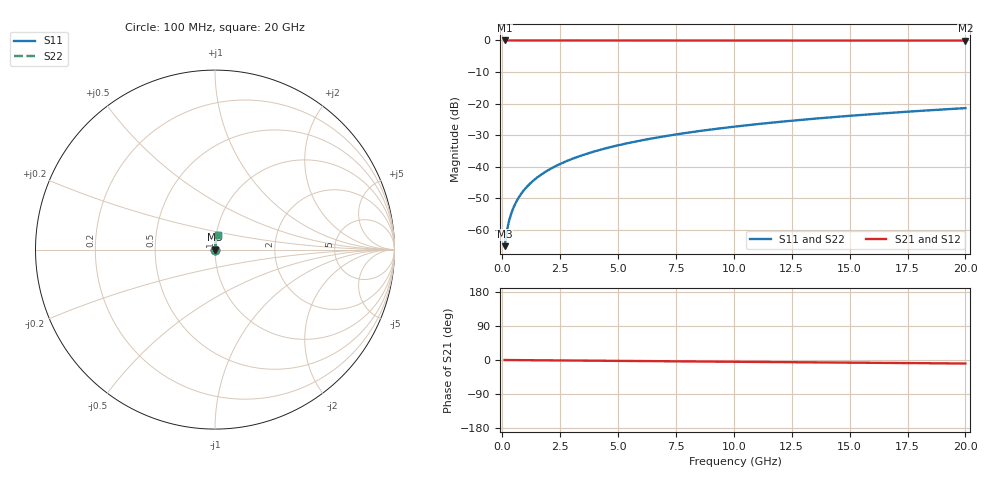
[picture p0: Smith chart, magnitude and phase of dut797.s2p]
! Touchstone file exported from HFSS 2026.1.0
!  File:  C:/ffzhzh/LocalFiles/Ansys_Project_Files/temp_train_TSV_797_1783184002_22436.aedt
!  Generated:  12:55:09 AM Jul  5, 2026
!  Design:  TSV
!  Project:  temp_train_TSV_797_1783184002_22436
! Variables:
!  h_bsmrdl = 2um
!  h_ox = 20um
!  h_rdl = 5um
!  h_sub = 73.05um
!  h_tmrdl = 5um
!  h_tsv = 73.05um
!  h_via = 3um
!  l_bsmrdl = 300um
!  l_sub = 411.24um
!  l_tmrdl = 200um
!  m_sub = 200um
!  pitch = 53.48um
!  r_tsv = 5.62um
!  s_tmrdl = 10um
!  w_bsmrdl = 18um
!  w_sub = 500um
!  w_tmrdl = 12um
!  x_tsv_center1 = 206um
!  x_tsv_center2 = 524um
!  x_tsv_center3 = 736um
!  x_tsv_center4 = 1054um
!  x_tsv_center5 = 1266um
!  x_tsv_center6 = 1584um
# GHz S MA R 50.000000
! Terminal data exported
! Port[1] = TSV1_1_T1
! Port[2] = TSV1_1_T2
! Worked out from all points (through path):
!   200 points, 100 MHz to 20 GHz, reference 50 ohm
!   highest |S21| = 0.00 dB at 100 MHz (marker M1); lowest = 0.0 dB at 20 GHz (marker M2)
!   group delay of S21, straight-line fit = 1.28 ps
!   lowest |S11| = -65.2 dB at 100 MHz (marker M3), VSWR 1.00, Z = 50 + j0.0466 ohm
!   |S11| at or under -10 dB: start of sweep to end of sweep
!   |S22| runs from -65.2 to -21.4 dB; largest |S21 - S12| = 6.3e-15
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0.1  0.0005525 57.4  0.9997 -0.0  0.9997 -0.0  0.0005525 57.4
! Gamma 0 0 0 0
! Port Impedance 50 0 50 0
0.2  0.0009787 71.7  0.9997 -0.1  0.9997 -0.1  0.0009787 71.7
0.3  0.001427 77.0  0.9997 -0.1  0.9997 -0.1  0.001427 77.0
0.4  0.001878 79.6  0.9997 -0.2  0.9997 -0.2  0.001878 79.6
0.5  0.002328 81.1  0.9996 -0.2  0.9996 -0.2  0.002328 81.1
0.6  0.002775 82.1  0.9996 -0.3  0.9996 -0.3  0.002775 82.1
0.7  0.003221 82.8  0.9996 -0.3  0.9996 -0.3  0.003221 82.8
0.8  0.003664 83.3  0.9996 -0.4  0.9996 -0.4  0.003664 83.3
1  0.004545 84.0  0.9996 -0.5  0.9996 -0.5  0.004545 84.0
1.4  0.006297 84.9  0.9995 -0.7  0.9995 -0.7  0.006297 84.9
1.7  0.007606 85.2  0.9994 -0.8  0.9994 -0.8  0.007606 85.2
2  0.008913 85.4  0.9994 -0.9  0.9994 -0.9  0.008913 85.4
2.7  0.01195 85.6  0.9993 -1.3  0.9993 -1.3  0.01195 85.6
3.5  0.01541 85.6  0.9991 -1.6  0.9991 -1.6  0.01541 85.6
4.2  0.01842 85.5  0.999 -2.0  0.999 -2.0  0.01842 85.5
5  0.02185 85.3  0.9989 -2.3  0.9989 -2.3  0.02185 85.3
6.8  0.02951 84.8  0.9985 -3.2  0.9985 -3.2  0.02951 84.8
8.3  0.03586 84.3  0.9982 -3.9  0.9982 -3.9  0.03586 84.3
10.1  0.04347 83.6  0.9978 -4.7  0.9978 -4.7  0.04347 83.6
13.4  0.05734 82.3  0.9969 -6.2  0.9969 -6.2  0.05734 82.3
16.7  0.07111 81.0  0.9959 -7.7  0.9959 -7.7  0.07111 81.0
20  0.08476 79.5  0.9946 -9.3  0.9946 -9.3  0.08476 79.5
